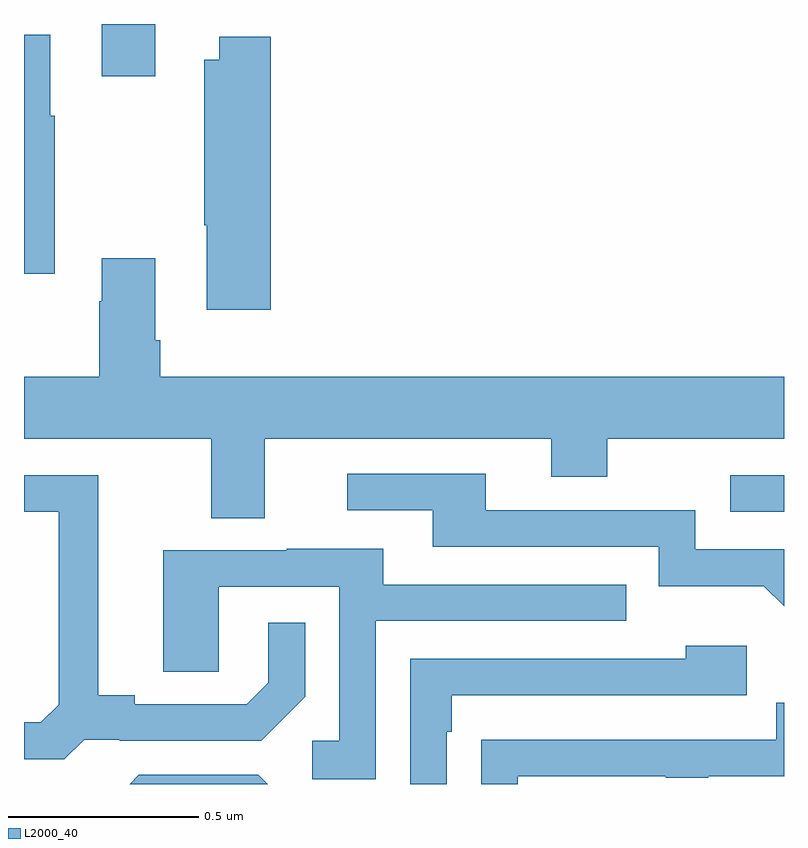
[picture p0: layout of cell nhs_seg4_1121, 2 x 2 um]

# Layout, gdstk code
import gdstk
lib = gdstk.Library(unit=1e-6, precision=1e-09)
def R(c, l, rs):  # rectangles x0, y0, x1, y1
    for r in rs: c.add(gdstk.rectangle(r[:2], r[2:], *l))
def P(c, l, *ps):  # polygons
    for p in ps: c.add(gdstk.Polygon(p, *l))
L2000_40 = (2000, 40)

nhs_seg4_1121 = lib.new_cell('nhs_seg4_1121')
R(nhs_seg4_1121, L2000_40, [(125.859,808.617,126,808.713), (124.205,809.763,124.345,809.9)])
P(nhs_seg4_1121, L2000_40, [(124.081,809.659),(124.069,809.659),(124.069,809.872),(124,809.872),(124,809.243),(124.081,809.243)],
  [(124.649,809.866),(124.514,809.866),(124.514,809.806),(124.474,809.806),(124.474,809.371),(124.481,809.371),(124.481,809.148),(124.649,809.148)],
  [(124.633,808.808),(125.387,808.808),(125.387,808.709),(125.535,808.709),(125.535,808.808),(126,808.808),(126,808.972),(124.358,808.972),(124.358,809.068),(124.345,809.068),(124.345,809.284),(124.205,809.284),(124.205,809.171),(124.198,809.171),(124.198,808.972),(124,808.972),(124,808.808),(124.493,808.808),(124.493,808.6),(124.633,808.6)],
  [(126,808.518),(125.766,808.518),(125.766,808.62),(125.215,808.62),(125.215,808.716),(124.851,808.716),(124.851,808.62),(125.075,808.62),(125.075,808.524),(125.67,808.524),(125.67,808.421),(125.947,808.421),(126,808.368)],
  [(124.158,808.017),(124.252,808.017),(124.252,808.014),(124.624,808.014),(124.74,808.13),(124.74,808.324),(124.643,808.324),(124.643,808.167),(124.586,808.11),(124.291,808.11),(124.291,808.133),(124.195,808.133),(124.195,808.713),(124,808.713),(124,808.617),(124.091,808.617),(124.091,808.109),(124.044,808.062),(124,808.062),(124,807.965),(124.106,807.965)],
  [(124.926,808.329),(125.585,808.329),(125.585,808.425),(124.945,808.425),(124.945,808.519),(124.691,808.519),(124.691,808.515),(124.367,808.515),(124.367,808.195),(124.512,808.195),(124.512,808.419),(124.83,808.419),(124.83,808.014),(124.758,808.014),(124.758,807.913),(124.926,807.913)],
  [(125.112,808.037),(125.125,808.037),(125.125,808.134),(125.902,808.134),(125.902,808.264),(125.741,808.264),(125.741,808.23),(125.016,808.23),(125.016,807.9),(125.112,807.9)],
  [(125.299,807.921),(125.689,807.921),(125.689,807.916),(125.801,807.916),(125.801,807.921),(126,807.921),(126,808.114),(125.98,808.114),(125.98,808.017),(125.305,808.017),(125.305,808.016),(125.203,808.016),(125.203,807.9),(125.299,807.9)],
  [(124.617,807.924),(124.302,807.924),(124.278,807.9),(124.641,807.9)])

lib.write_gds('nhs_seg4_1121.gds')
